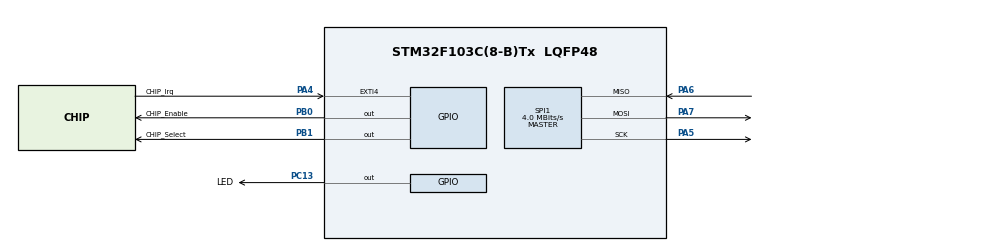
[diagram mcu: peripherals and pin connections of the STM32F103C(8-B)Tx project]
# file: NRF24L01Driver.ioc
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Mcu.Family=STM32F1
Mcu.Name=STM32F103C(8-B)Tx
Mcu.Package=LQFP48
NVIC.PriorityGroup=NVIC_PRIORITYGROUP_4
PA13.Mode=Serial_Wire
PA13.Signal=SYS_JTMS-SWDIO
PA14.Mode=Serial_Wire
PA14.Signal=SYS_JTCK-SWCLK
PA4.GPIO_Label=CHIP_Irq
PA4.GPIO_ModeDefaultEXTI=GPIO_MODE_IT_FALLING
PA4.GPIO_PuPd=GPIO_PULLUP
PA4.Signal=GPXTI4
PA5.Mode=Full_Duplex_Master
PA5.Signal=SPI1_SCK
PA6.Mode=Full_Duplex_Master
PA6.Signal=SPI1_MISO
PA7.Mode=Full_Duplex_Master
PA7.Signal=SPI1_MOSI
PB0.GPIO_Label=CHIP_Enable
PB0.Signal=GPIO_Output
PB1.GPIO_Label=CHIP_Select
PB1.PinState=GPIO_PIN_SET
PB1.Signal=GPIO_Output
PC13-TAMPER-RTC.GPIO_Label=LED
PC13-TAMPER-RTC.Signal=GPIO_Output
ProjectManager.HeapSize=0x200
ProjectManager.StackSize=0x400
ProjectManager.TargetToolchain=STM32CubeIDE
RCC.APB1Freq_Value=8000000
RCC.APB2Freq_Value=8000000
SPI1.CalculateBaudRate=4.0 MBits/s
SPI1.Direction=SPI_DIRECTION_2LINES
SPI1.Mode=SPI_MODE_MASTER
SPI1.VirtualType=VM_MASTER
board=custom

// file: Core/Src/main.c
/* USER CODE BEGIN Header */
/**
  ******************************************************************************
  * @file           : main.c
  * @brief          : Main program body
  ******************************************************************************
  * @attention
  *
  * Copyright (c) 2026 STMicroelectronics.
  * All rights reserved.
  *
  * This software is licensed under terms that can be found in the LICENSE file
  * in the root directory of this software component.
  * If no LICENSE file comes with this software, it is provided AS-IS.
  *
  ******************************************************************************
  */
/* USER CODE END Header */
#include "main.h"
#include "spi.h"
#include "gpio.h"

/* USER CODE BEGIN Includes */
#include "DRV_NRF24L01.h"
/* USER CODE END Includes */

/* USER CODE BEGIN PD */
/* USER CODE BEGIN PD */
/* Comment dòng này nếu nạp cho board NHẬN, mở comment nếu nạp cho board PHÁT */
#define IS_TRANSMITTER_NODE
/* USER CODE END PD */

/* USER CODE BEGIN PV */
uint8_t masterAddress0[5] = {0x11, 0x22, 0x33, 0x44, 0x55};
uint8_t masterAddress1[5] = {0x12, 0x13, 0x14, 0x15, 0x16};
uint8_t masterAddress2[4] = {0x15, 0x16, 0x17, 0x18};
uint8_t dummyPayload[32];
uint32_t txCounter = 0;
volatile uint8_t flag = 0 ;
volatile uint8_t transmited_flag = 0 ;
volatile uint8_t received_flag = 0 ;
/* USER CODE END PV */

void SystemClock_Config(void);

/* USER CODE BEGIN 0 */
/* USER CODE BEGIN 0 */
NRF24L01_HandleTypedef Instance0 =
{
    .SPI_Instance = &hspi1,
    .ChipSelectPin = CHIP_Select_Pin,
    .ChipSelectPort = CHIP_Select_GPIO_Port,
    .InterruptPin = CHIP_Irq_Pin,
    .InterruptPort = CHIP_Irq_GPIO_Port,
    .ChipEnablePin = CHIP_Enable_Pin,
    .ChipEnablePort  = CHIP_Enable_GPIO_Port,
    .InterruptMode = TRUE,
    .NRF24L01_OutputPower = NRF24_MEDIUM_POWER,
    .NRF24L01_AirDataDate = NRF24L01_1MBPS,
    .FrequencyChannel     = 120,
    .AutoRetransmitCount = 10,
    .AutoRetransmitDelay = 10,
	.DynamicPayloadEnable = TRUE,
	.PayloadWithAckEnable = FALSE,
	.State = NRF24_UNINIT,
    // Gán địa chỉ mặc định
    .RxAddressP0 = {0x11, 0x22, 0x33, 0x44, 0x55},
    .RxAddressP1 = {0x12, 0x13, 0x14, 0x15, 0x16},
	.RxAddressP2_5 = {0x15,0x16,0x17,0x18},
    .TxAddress   = {0x11, 0x22, 0x33, 0x44, 0x55}
};
/* USER CODE END 0 */

int main(void)
{

  /* USER CODE BEGIN 1 */
	uint8_t pipeID = 0 ;
	uint32_t counter = 0 ;
  /* USER CODE END 1 */

  /* MCU Configuration--------------------------------------------------------*/

  /* Reset of all peripherals, Initializes the Flash interface and the Systick. */
  HAL_Init();

  /* Configure the system clock */
  SystemClock_Config();

  /* Initialize all configured peripherals */
  MX_GPIO_Init();
  MX_SPI1_Init();
  /* USER CODE BEGIN 2 */
  if(DRV_Nrf24l01Init(&Instance0) != STD_E_OK)
  {
	Error_Handler(); // Nếu Init lỗi sẽ kẹt ở đây
  }
  DRV_Nrf24l01SwitchMode(&Instance0,NRF24_RECEIVE_MODE);
#ifndef IS_TRANSMITTER_NODE

  NVIC_EnableIRQ(EXTI4_IRQn);
#endif
  NVIC_EnableIRQ(EXTI4_IRQn);
  /* USER CODE END 2 */

  /* Infinite loop */
  while (1)
  {

    /* USER CODE BEGIN 3 */
#ifdef IS_TRANSMITTER_NODE
	  uint8_t status = 0 ;
      /* --- KỊCH BẢN PHÁT (TX) --- */
	  status = DRV_Nrf24l01Transmit(&Instance0,2, &masterAddress2[1], (uint8_t*)"FPT SOFT WARE ");
	  while( transmited_flag == 0 );
	  transmited_flag = 0;
	  DRV_Nrf24l01SwitchMode(&Instance0, NRF24_RECEIVE_MODE);
	  while( received_flag == 0 );
	  received_flag = 0 ;
	  if ( status == STD_E_OK)
	  {
		  DRV_Nrf24l01Receive(&Instance0,&pipeID,dummyPayload, 32);
	      if(dummyPayload[0] == 'C')
	      {
	    	  HAL_GPIO_TogglePin(LED_GPIO_Port, LED_Pin);
	    	  dummyPayload[0] = '\0';

	      }
	  }
	  else
	  {
		  counter ++ ;
	  }
      HAL_Delay(100); // Gửi mỗi 0.5 giây

#else
      /* --- KỊCH BẢN NHẬN (RX) --- */
      if ( DRV_Nrf24l01DataReceiveAvailable(&Instance0) == 1)
      {
          DRV_Nrf24l01Receive(&Instance0,&pipeID, dummyPayload, 10 );
      }
      if(dummyPayload[0] == 'F')
      {
    	  DRV_Nrf24l01Transmit(&Instance0,2, &masterAddress2[1], (uint8_t*)"Complete");
    	  HAL_GPIO_TogglePin(LED_GPIO_Port, LED_Pin);
    	  dummyPayload[0] = '\0';
      }
#endif
  }
  /* USER CODE END 3 */
}

void SystemClock_Config(void)
{
  RCC_OscInitTypeDef RCC_OscInitStruct = {0};
  RCC_ClkInitTypeDef RCC_ClkInitStruct = {0};

  /** Initializes the RCC Oscillators according to the specified parameters
  * in the RCC_OscInitTypeDef structure.
  */
  RCC_OscInitStruct.OscillatorType = RCC_OSCILLATORTYPE_HSI;
  RCC_OscInitStruct.HSIState = RCC_HSI_ON;
  RCC_OscInitStruct.HSICalibrationValue = RCC_HSICALIBRATION_DEFAULT;
  RCC_OscInitStruct.PLL.PLLState = RCC_PLL_NONE;
  if (HAL_RCC_OscConfig(&RCC_OscInitStruct) != HAL_OK)
  {
    Error_Handler();
  }

  /** Initializes the CPU, AHB and APB buses clocks
  */
  RCC_ClkInitStruct.ClockType = RCC_CLOCKTYPE_HCLK|RCC_CLOCKTYPE_SYSCLK
                              |RCC_CLOCKTYPE_PCLK1|RCC_CLOCKTYPE_PCLK2;
  RCC_ClkInitStruct.SYSCLKSource = RCC_SYSCLKSOURCE_HSI;
  RCC_ClkInitStruct.AHBCLKDivider = RCC_SYSCLK_DIV1;
  RCC_ClkInitStruct.APB1CLKDivider = RCC_HCLK_DIV1;
  RCC_ClkInitStruct.APB2CLKDivider = RCC_HCLK_DIV1;

  if (HAL_RCC_ClockConfig(&RCC_ClkInitStruct, FLASH_LATENCY_0) != HAL_OK)
  {
    Error_Handler();
  }
}

/* USER CODE BEGIN 4 */
void EXTI4_IRQHandler()
{
	uint8_t status = 0 ;
	status = DRV_Nrf24l01GetStatus(&Instance0);
	if ( ((status >> 5) & 0x01) == 1  )
	{
		transmited_flag = 1 ;
		DRV_Nrf24l01ClearIRQ(&Instance0, 1 << 5 );
	}
	if ( ((status >> 6) & 0x01) == 1  )
	{
		received_flag = 1 ;
		DRV_Nrf24l01ClearIRQ(&Instance0, 1 << 6 );
	}
	__HAL_GPIO_EXTI_CLEAR_IT(CHIP_Irq_Pin);
	flag = 1 ;
}
/* USER CODE END 4 */

void Error_Handler(void)
{
  __disable_irq();
  while (1)
  {
  }
}
